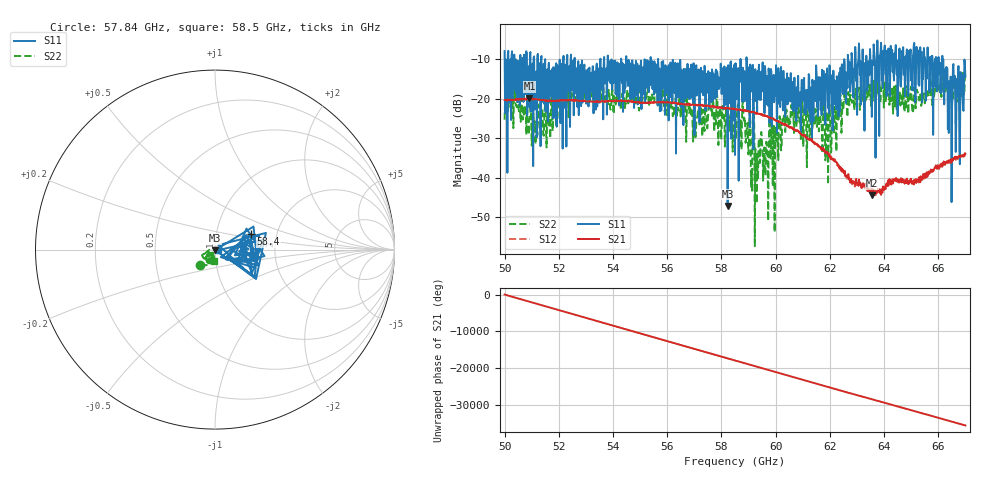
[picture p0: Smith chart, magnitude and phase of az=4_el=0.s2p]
!Created with skrf (http://scikit-rf.org).
# GHz S RI R 50.0
!freq ReS11 ImS11 ReS21 ImS21 ReS12 ImS12 ReS22 ImS22
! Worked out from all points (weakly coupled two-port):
!   1001 points, 50 GHz to 67 GHz, reference 50 ohm
!   highest |S21| = -19.87 dB at 50.92 GHz (marker M1); lowest = -44.4 dB at 63.57 GHz (marker M2)
!   lowest |S11| = -47.1 dB at 58.23 GHz (marker M3), VSWR 1.01, Z = 49.9 - j0.436 ohm
!   |S11| at or under -10 dB: 52.58 GHz to 53.53 GHz (949.7 MHz wide, 1.79 % of centre); 55.66 GHz to 58.7 GHz (3.042 GHz wide, 5.32 % of centre); 58.93 GHz to 62.53 GHz (3.601 GHz wide, 5.93 % of centre) (the widest 3 of 60)
!   |S22| runs from -57.3 to -13.2 dB; largest |S21 - S12| = 0.002
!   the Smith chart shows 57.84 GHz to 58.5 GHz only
!   S11 on the Smith chart (normalised r, x): 57.84 GHz: 1.55, -0.14; 58.4 GHz: 1.47, +0.26; 58.5 GHz: 1.04, -0.01
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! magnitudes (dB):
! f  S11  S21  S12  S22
! 50 GHz  -7.9  -20.3  -20.3  -25.3
! 50.15 GHz  -21.0  -20.3  -20.4  -21.4
! 50.92 GHz  -22.1  -19.9  -19.9  -25.2
! 52.84 GHz  -12.1  -20.5  -20.5  -19.5
! 55.68 GHz  -13.1  -20.8  -20.8  -21.6
! 57.84 GHz  -13.0  -22.3  -22.3  -18.6
! 58.23 GHz  -47.1  -22.3  -22.4  -23.2
! 58.4 GHz  -13.2  -22.5  -22.5  -26.6
! 58.5 GHz  -34.2  -22.5  -22.6  -23.6
! 58.86 GHz  -20.6  -23.0  -22.9  -24.7
! 59.32 GHz  -23.6  -23.6  -23.6  -33.9
! 59.44 GHz  -13.8  -23.9  -23.8  -33.1
! 60.34 GHz  -15.0  -26.6  -26.4  -25.8
! 61.34 GHz  -30.7  -30.3  -30.5  -26.1
! 62 GHz  -12.1  -34.4  -34.2  -23.5
! 62.55 GHz  -11.3  -38.2  -38.8  -18.5
! 63.57 GHz  -10.6  -44.4  -43.2  -16.2
! 64.18 GHz  -11.8  -41.6  -41.3  -17.6
! 66.1 GHz  -14.2  -36.6  -36.5  -18.5
! 66.44 GHz  -19.6  -35.7  -35.5  -16.3
! 66.86 GHz  -18.7  -34.5  -34.5  -16.2
! 67 GHz  -14.4  -33.9  -33.9  -14.2
